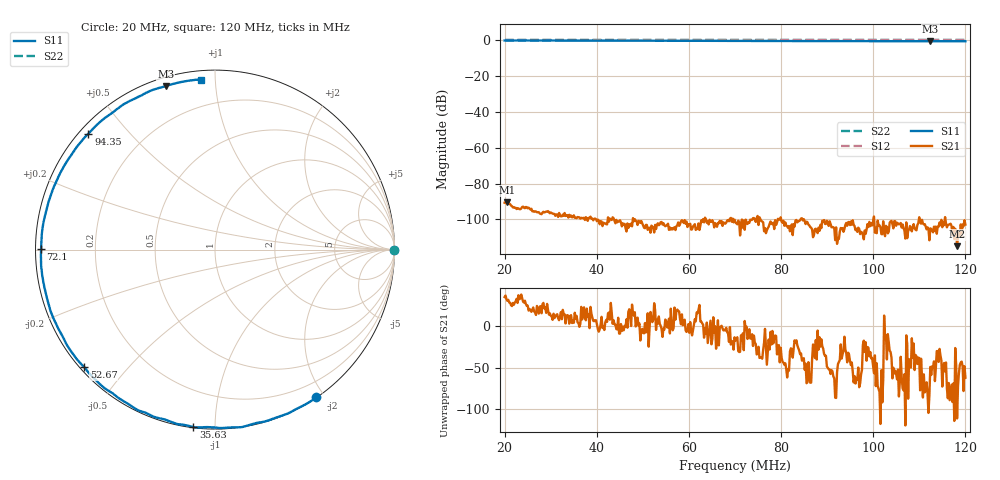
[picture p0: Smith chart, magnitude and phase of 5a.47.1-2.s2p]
! Anritsu VNA Master:  Model: MS2036C/10/77
! SN:  1601066
! /card0/usr/18may27.balun/5a..47.s2p
! Existing Calibration Information:
! TYPE:  Current Settings,  Active Cal Settings
! TIME:  05/27/2018 04:49:41 PM,  05/27/2018 04:42:15 PM
! INTERNAL TEMP:  52.8 C,  52.0 C
! # POINTS:  500,  500
! START FREQ:  20.000 MHz,  20.000 MHz
! STOP FREQ:  120.000 MHz,  120.000 MHz
! SOURCE POWER:  High,  High
! IFBW:  50 Hz,  50 Hz
! AVG FACTOR:  1 ,  1
! REF PLANE 1:  0 mm,  0 mm
! REF PLANE 2:  0 mm,  0 mm
! CAL TYPE:  Full S11,  Full S11
! CAL METHOD:  SOLT,  SOLT
! CAL LINE TYPE:  Coax,  Coax
! DUT PORT 1:  K-Conn(M),  K-Conn(M)
! DUT PORT 2:  K-Conn(M),  K-Conn(M)
! CAL STATUS:  OK: Accuracy High,  --
# GHZ S DB R 50.0
! FREQ.GHZ  S11DB  S11A  S21DB  S21A  S12DB  S12A  S22DB  S22A
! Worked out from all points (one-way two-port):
!   500 points, 20 MHz to 120 MHz, reference 50 ohm
!   highest |S21| = -90.46 dB at 20.6 MHz (marker M1); lowest = -114.9 dB at 118.2 MHz (marker M2)
!   lowest |S11| = -0.4 dB at 112.4 MHz (marker M3), VSWR 39.67, Z = 1.96 + j37.1 ohm
!   |S11| at or under -10 dB: nowhere
!   |S22| runs from 0.0 to 0.0 dB; largest |S21 - S12| = 1
!   S11 on the Smith chart (normalised r, x): 20 MHz: 0.01, -1.89; 35.63 MHz: 0.00, -0.89; 52.67 MHz: 0.01, -0.38; 72.1 MHz: 0.02, +0.00; 94.35 MHz: 0.03, +0.39; 120 MHz: 0.05, +0.92
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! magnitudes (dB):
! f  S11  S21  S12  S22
! 20 MHz  0.0  -90.7  0.0  0.0
! 20.6 MHz  0.0  -90.5  0.0  0.0
! 27.82 MHz  -0.1  -96.9  0.0  0.0
! 29.62 MHz  0.0  -95.9  0.0  0.0
! 33.63 MHz  -0.1  -97.6  0.0  0.0
! 35.63 MHz  0.0  -99.3  0.0  0.0
! 36.83 MHz  -0.1  -99.2  0.0  0.0
! 39.44 MHz  -0.1  -99.6  0.0  0.0
! 43.25 MHz  -0.1  -100.3  0.0  0.0
! 47.05 MHz  -0.1  -102.7  0.0  0.0
! 48.86 MHz  -0.1  -103.1  0.0  0.0
! 52.67 MHz  -0.2  -103.0  0.0  0.0
! 53.47 MHz  -0.2  -103.2  0.0  0.0
! 70.1 MHz  -0.3  -101.7  0.0  0.0
! 72.1 MHz  -0.3  -105.8  0.0  0.0
! 86.73 MHz  -0.3  -105.6  0.0  0.0
! 94.35 MHz  -0.4  -103.5  0.0  0.0
! 100.6 MHz  -0.4  -104.7  0.0  0.0
! 103.4 MHz  -0.4  -106.8  0.0  0.0
! 112.4 MHz  -0.4  -105.0  0.0  0.0
! 118.2 MHz  -0.4  -114.9  0.0  0.0
! 120 MHz  -0.4  -102.9  0.0  0.0
